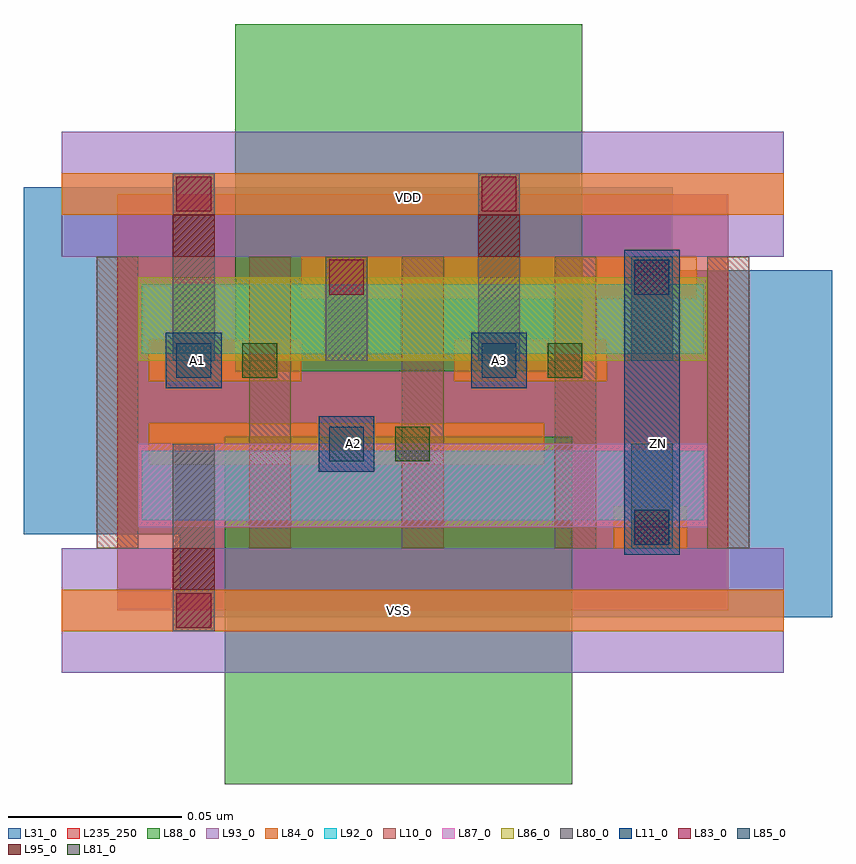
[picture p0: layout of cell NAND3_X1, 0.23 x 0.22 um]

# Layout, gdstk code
import gdstk
lib = gdstk.Library(unit=1e-6, precision=1e-09)
def R(c, l, rs):  # rectangles x0, y0, x1, y1
    for r in rs: c.add(gdstk.rectangle(r[:2], r[2:], *l))
def A(c, l, x, y, w, h, nx, ny, dx, dy):  # array of equal rectangles
    R(c, l, [(x+i*dx, y+j*dy, x+i*dx+w, y+j*dy+h) for i in range(nx) for j in range(ny)])
L10_0 = (10, 0)
L11_0 = (11, 0)
L31_0 = (31, 0)
L80_0 = (80, 0)
L81_0 = (81, 0)
L83_0 = (83, 0)
L84_0 = (84, 0)
L85_0 = (85, 0)
L86_0 = (86, 0)
L87_0 = (87, 0)
L88_0 = (88, 0)
L92_0 = (92, 0)
L93_0 = (93, 0)
L95_0 = (95, 0)
L235_250 = (235, 250)

nand3_x1 = lib.new_cell('NAND3_X1')
A(nand3_x1, L10_0, -0.006, 0.018, 0.012, 0.084, 5, 1, 0.044, 0)
R(nand3_x1, L11_0, [(0.146,0.016,0.162,0.104), (0.058,0.04,0.074,0.056), (0.014,0.064,0.03,0.08), (0.102,0.064,0.118,0.08)])
R(nand3_x1, L31_0, [(0.018,-0.002,0.118,0.098), (0.106,-0.002,0.206,0.098), (-0.027,0.022,0.073,0.122), (0.06,0.022,0.16,0.122)])
R(nand3_x1, L80_0, [(0.016,-0.006,0.028,0.048), (0.148,0.018,0.16,0.048), (0.016,0.072,0.028,0.126), (0.06,0.072,0.072,0.102), (0.104,0.072,0.116,0.126), (0.148,0.072,0.16,0.102)])
R(nand3_x1, L81_0, [(0.08,0.043,0.09,0.053), (0.036,0.067,0.046,0.077), (0.124,0.067,0.134,0.077)])
R(nand3_x1, L83_0, [(0.017,-0.005,0.027,0.005), (0.149,0.019,0.159,0.029), (0.061,0.091,0.071,0.101), (0.149,0.091,0.159,0.101), (0.017,0.115,0.027,0.125), (0.105,0.115,0.115,0.125)])
R(nand3_x1, L84_0, [(-0.016,-0.006,0.192,0.006), (0.143,0.018,0.164,0.03), (0.009,0.042,0.123,0.054), (0.009,0.066,0.053,0.078), (0.097,0.066,0.141,0.078), (0.053,0.09,0.167,0.102), (-0.016,0.114,0.192,0.126)])
R(nand3_x1, L85_0, [(0.149,0.019,0.159,0.029), (0.061,0.043,0.071,0.053), (0.017,0.067,0.027,0.077), (0.105,0.067,0.115,0.077), (0.149,0.091,0.159,0.101)])
R(nand3_x1, L86_0, [(0.006,0.072,0.17,0.096)])
R(nand3_x1, L87_0, [(0.006,0.024,0.17,0.048)])
R(nand3_x1, L88_0, [(0.031,-0.05,0.131,0.05), (0.034,0.069,0.134,0.169)])
R(nand3_x1, L92_0, [(0.007,0.026,0.169,0.046), (0.007,0.074,0.169,0.094)])
R(nand3_x1, L93_0, [(-0.016,-0.018,0.192,0.018), (-0.016,0.102,0.192,0.138)])
R(nand3_x1, L95_0, [(0.016,0.006,0.028,0.018), (0.016,0.102,0.028,0.114), (0.104,0.102,0.116,0.114)])
R(nand3_x1, L235_250, [(0,0,0.176,0.12)])
nand3_x1.add(gdstk.Label('VSS', (0.081,0), layer=88, texttype=0))
nand3_x1.add(gdstk.Label('VDD', (0.084,0.119), layer=88, texttype=0))
nand3_x1.add(gdstk.Label('A1', (0.023,0.072), layer=31, texttype=0))
nand3_x1.add(gdstk.Label('ZN', (0.156,0.048), layer=31, texttype=0))
nand3_x1.add(gdstk.Label('A3', (0.11,0.072), layer=31, texttype=0))
nand3_x1.add(gdstk.Label('A2', (0.068,0.048), layer=31, texttype=0))

lib.write_gds('NAND3_X1.gds')
